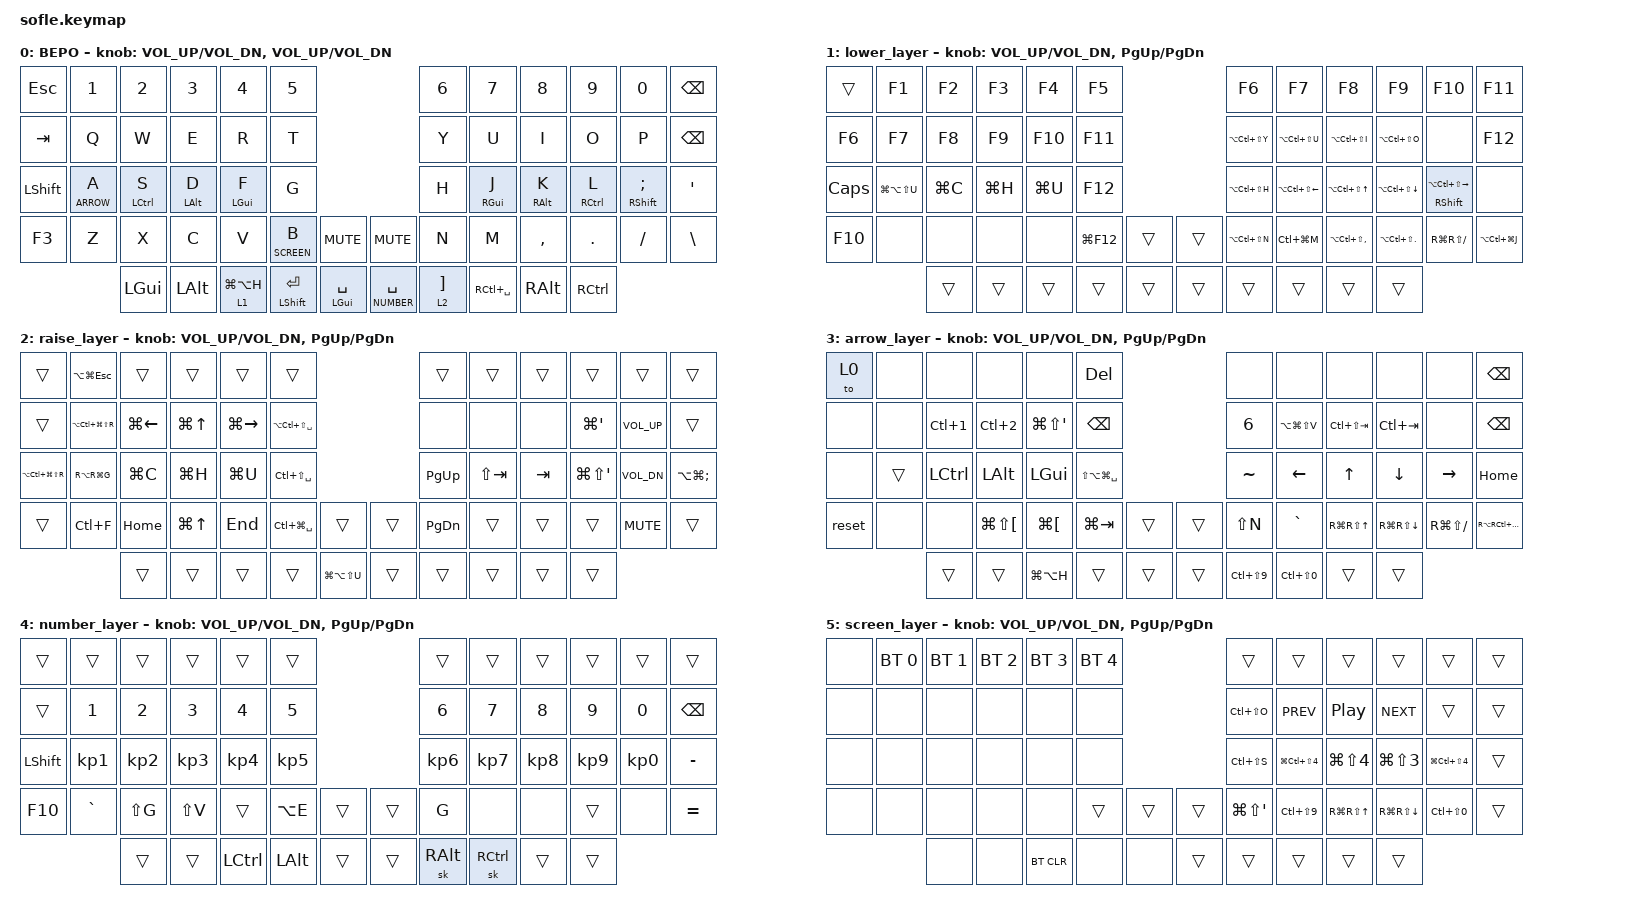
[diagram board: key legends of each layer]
/*
 * Copyright (c) 2020 The ZMK Contributors
 *
 * SPDX-License-Identifier: MIT
 */

#include <behaviors.dtsi>
#include <dt-bindings/zmk/keys.h>
#include <dt-bindings/zmk/bt.h>

#define DEFAULT 0
#define LOWER   1
#define RAISE   2
#define ARROW   3
#define NUMBER  4
#define SCREEN  5

&kscan0 { debounce-period = <20>; };

/ {
    combos {
        compatible = "zmk,combos";
        combo_ret {
            timeout-ms = <50>;
            key-positions = <30 44>;
            bindings = <&kp RET>;
        };
        combo_bspc {
            timeout-ms = <50>;
            key-positions = <19 31>;
            bindings = <&kp BSPC>;
        };
        combo_del {
            timeout-ms = <50>;
            key-positions = <18 30>;
            bindings = <&kp DEL>;
        };
        combo_w {
            timeout-ms = <50>;
            key-positions = <31 45>;
            bindings = <&kp RBKT>;
        };
        combo_z {
            timeout-ms = <50>;
            key-positions = <20 32>;
            bindings = <&kp LBKT>;
        };
        combo_arrow {
            timeout-ms = <50>;
            key-positions = <38 39 40>;
            bindings = <&to ARROW>;
        };
        combo_cut {
            timeout-ms = <50>;
            key-positions = <14 26>;
            bindings = <&kp LG(C)>;
        };
        combo_copy {
            timeout-ms = <50>;
            key-positions = <15 27>;
            bindings = <&kp LG(H)>;
        };
        combo_paste {
            timeout-ms = <50>;
            key-positions = <16 28>;
            bindings = <&kp LG(U)>;
        };
        combo_paste_without_format {
            timeout-ms = <50>;
            key-positions = <17 29>;
            bindings = <&kp LG(LA(LS(U)))>;
        };
        combo_tab {
            timeout-ms = <50>;
            key-positions = <28 29>;
            bindings = <&kp TAB>;
        };
        combo_shift-tab {
            timeout-ms = <50>;
            key-positions = <16 17>;
            bindings = <&kp LS(TAB)>;
        };
        combo_cancel {
            timeout-ms = <50>;
            key-positions = <28 40>;
            bindings = <&kp LG(LBKT)>;
        };
        combo_redo {
            timeout-ms = <50>;
            key-positions = <27 39>;
            bindings = <&kp LG(LS(LBKT))>;
        };
        combo_cmd-tab {
            timeout-ms = <50>;
            key-positions = <29 41>;
            bindings = <&kp LG(TAB)>;
        };
    };
};

// ------------------------------------------------------------------------------------------------------------
// |  0    |  1  |  2  |  3   |  4   |  5   |                   |  6   |  7    |  8    |  9   |   10  |   11  |
// |  12   | 13  |  14 | 15   | 16   |  17  |                   |  18  |  19   |  20   |  21  |   22  |   23  |
// |  24   | 25  |  26 | 27   | 28   |  29  |                   |  30  |  31   |  32   |  33  |   34  |   35  |
// |   36  | 37  |  38 | 39   | 40   |  41  |    42  |  |  43   |  44  |  45   |  46   |  47  |   48  |   49  |
//               |  50 |  51  |  52  |  53  |    54  |  |   55  |  56  |  57   |  58   |  59  |


/ {
    behaviors {
        hm1: homerow_mods {
            compatible = "zmk,behavior-hold-tap";
            label = "HOMEROW_MODS1";
            #binding-cells = <2>;
            tapping-term-ms = <260>;
            quick_tap_ms = <0>;
            flavor = "tap-preferred";
            bindings = <&kp>, <&kp>;
        };
        hm2: homerow_mods2 {
            compatible = "zmk,behavior-hold-tap";
            label = "HOMEROW_MODS2";
            #binding-cells = <2>;
            tapping-term-ms = <260>;
            quick_tap_ms = <0>;
            flavor = "hold-preferred";
            bindings = <&kp>, <&kp>;
        };
        ht: homerow_layertap {
            compatible = "zmk,behavior-hold-tap";
            label = "HOMEROW_LAYERTAP";
            #binding-cells = <2>;
            tapping-term-ms = <260>;
            quick_tap_ms = <0>;
            flavor = "tap-preferred";
            bindings = <&mo>, <&kp>;
        };
    };

    keymap {
        compatible = "zmk,keymap";

        default_layer {
        label = "BEPO";
// ------------------------------------------------------------------------------------------------------------
// |  `    |  1  |  2  |  3   |  4   |  5   |                   |  6   |  7    |  8    |  9   |   0   | BKSPC |
// |  ESC  |  Q  |  W  |  E   |  R   |  T   |                   |  Y   |  U    |  I    |  O   |   P   |   Z   |
// |  TAB  |  A  |  S  |  D   |  F   |  G   |                   |  H   |  J    |  K    |  L   |   ;   |   '   |
// | SHIFT |  Z  |  X  |  C   |  V   |  B   |  MUTE  |  |       |  N   |  M    |  ,    |  .   |   /   | SHIFT |
//               | GUI | ALT  | CTRL | LOWER|  ENTER |  | SPACE | RAISE| CTRL  | ALT   | GUI  |
            bindings = <
&kp ESC   &kp N1      &kp N2       &kp N3      &kp N4          &kp N5                                             &kp N6     &kp N7        &kp N8      &kp N9       &kp N0          &kp BSPC
&kp TAB   &kp Q       &kp W        &kp E       &kp R           &kp T                                              &kp Y      &kp U         &kp I       &kp O        &kp P           &kp BSPC
&kp LSHFT &ht ARROW A &hm1 LCTRL S &hm1 LALT D &hm1 LGUI F     &kp G                                              &kp H      &hm1 RGUI J   &hm1 RALT K &hm1 RCTRL L &hm1 RSHFT SEMI &kp SQT
&kp F3    &kp Z       &kp X        &kp C       &kp V           &lt SCREEN B   &kp C_MUTE         &kp C_MUTE       &kp N      &kp M         &kp COMMA   &kp DOT      &kp FSLH        &kp BSLH
                      &kp LGUI     &kp LALT    &lt 1 LG(LA(H)) &mt LSHFT RET  &mt LGUI SPACE     &lt NUMBER SPACE &lt 2 RBKT &kp RC(SPACE) &kp RALT    &kp RCTL
            >;

            sensor-bindings = <&inc_dec_kp C_VOL_UP C_VOL_DN &inc_dec_kp C_VOL_UP C_VOL_DN>;
        };

        lower_layer {
// TODO: Some binds are waiting for shifted keycode support.
// ------------------------------------------------------------------------------------------------------------
// |       |  F1 |  F2 |  F3  |  F4  |  F5  |                   |  F6  |  F7   |  F8   |  F9  |  F10  |  F11  |
// | `     |   1 |   2 |   3  |   4  |   5  |                   |   6  |   7   |   8   |   9  |    0  |  F12  |
// |       |  !  |  @  |  #   |  $   |  %   |                   |  ^   |  &    |  *    |  (   |   )   |   |   |
// |       |  =  |  -  |  +   |  {   |  }   |        |  |       |  [   |  ]    |  ;    |  :   |   \   |       |
//               |     |      |      |      |        |  |       |      |       |       |      |
            bindings = <
&trans   &kp F1            &kp F2    &kp F3           &kp F4       &kp F5                       &kp F6            &kp F7               &kp F8                &kp F9               &kp F10                      &kp F11
&kp F6   &kp F7            &kp F8    &kp F9           &kp F10      &kp F11                      &kp LA(LC(LS(Y))) &kp LA(LC(LS(U)))    &kp LA(LC(LS(I)))     &kp LA(LC(LS(O)))    &none                        &kp F12
&kp CAPS &kp LG(LA(LS(U))) &kp LG(C) &kp LG(H)        &kp LG(U)    &kp F12                      &kp LA(LC(LS(H))) &kp LA(LC(LS(LEFT))) &kp LA(LC(LS(UP)))    &kp LA(LC(LS(DOWN))) &hm1 RSHFT LA(LC(LS(RIGHT)))  &none
&kp F10  &none             &none     &none            &none        &kp LG(F12)  &trans   &trans &kp LA(LC(LS(N))) &kp LC(LG(M))        &kp LA(LC(LS(COMMA))) &kp LA(LC(LS(DOT)))  &kp RG(RS(FSLH))             &kp LA(LC(LG(J)))
                           &trans    &trans           &trans       &trans       &trans   &trans &trans            &trans               &trans                &trans
            >;

            sensor-bindings = <&inc_dec_kp C_VOL_UP C_VOL_DN &inc_dec_kp PG_UP PG_DN>;
        };

        raise_layer {
// ----------------------------------------------------------------------------------------------------------
// |BTCLR| BT1  | BT2  |  BT3  |  BT4  |  BT5 |                |      |      |       |      |       |       |
// |     | INS  | PSCR | GUI   |       |      |                | PGUP |      |   ^   |      |       |       |
// |     | ALT  | CTRL | SHIFT |       | CAPS |                | PGDN |   <- |   v   |  ->  |  DEL  | BKSPC |
// |     | UNDO | CUT  | COPY  | PASTE |      |      |  |      |      |      |       |      |       |       |
//              |      |       |       |      |      |  |      |      |      |       |      |
            bindings = <
&trans                &kp LA(LG(ESC))       &trans       &trans     &trans        &trans                                        &trans    &trans      &trans   &trans          &trans         &trans
&trans                &kp LA(LC(LG(LS(R)))) &kp LG(LEFT) &kp LG(UP) &kp LG(RIGHT) &kp LA(LC(LS(SPACE)))                         &none     &none       &none    &kp LG(SQT)     &kp C_VOL_UP   &trans
&kp LA(LC(LG(LS(R)))) &kp RA(RG(G))         &kp LG(C)    &kp LG(H)  &kp LG(U)     &kp LC(LS(SPACE))                             &kp PG_UP &kp LS(TAB) &kp TAB  &kp LG(LS(SQT)) &kp C_VOL_DN   &kp LA(LG(SEMI))
&trans                &kp LC(F)             &kp HOME     &kp LG(UP) &kp END       &kp LC(LG(SPACE))   &trans            &trans  &kp PG_DN &trans      &trans   &trans          &kp C_MUTE     &trans
                                            &trans       &trans     &trans        &trans              &kp LG(LA(LS(U))) &trans  &trans    &trans      &trans   &trans
            >;

            sensor-bindings = <&inc_dec_kp C_VOL_UP C_VOL_DN &inc_dec_kp PG_UP PG_DN>;
        };

        arrow_layer {
// TODO: Some binds are waiting for shifted keycode support.
// ------------------------------------------------------------------------------------------------------------
// |       |  F1 |  F2 |  F3  |  F4  |  F5  |                   |  F6  |  F7   |  F8   |  F9  |  F10  |  F11  |
// | `     |   1 |   2 |   3  |   4  |   5  |                   |   6  |   7   |   8   |   9  |    0  |  F12  |
// |       |  !  |  @  |  #   |  $   |  %   |                   |  ^   |  &    |  *    |  (   |   )   |   |   |
// |       |  =  |  -  |  +   |  {   |  }   |        |  |       |  [   |  ]    |  ;    |  :   |   \   |       |
//               |     |      |      |      |        |  |       |      |       |       |      |
            bindings = <
&to 0  &none  &none      &none            &none                 &kp DEL                                 &none          &none             &none            &none            &none            &kp BSPC
&none  &none  &kp LC(N1) &kp LC(N2)       &kp LG(LS(SQT))       &kp BSPC                                &kp N6         &kp LA(LG(LS(V))) &kp LC(LS(TAB))  &kp LC(TAB)      &none            &kp BSPC
&none  &trans &kp LCTRL  &kp LALT         &kp LGUI              &kp LS(LA(LG(SPACE)))                   &kp TILDE      &kp LEFT          &kp UP           &kp DOWN         &kp RIGHT        &kp HOME
&reset &none  &none      &kp LG(LS(LBKT)) &kp LG(LBKT)          &kp LG(TAB)           &trans     &trans &kp LS(N)      &kp GRAVE         &kp RG(RS(UP))   &kp RG(RS(DOWN)) &kp RG(LS(FSLH)) &kp RA(RC(RG(J)))
              &trans     &trans           &kp LG(LA(H))         &trans                &trans     &trans &kp LC(LS(N9)) &kp LC(LS(N0))    &trans           &trans
            >;

            sensor-bindings = <&inc_dec_kp C_VOL_UP C_VOL_DN &inc_dec_kp PG_UP PG_DN>;
        };

        number_layer {
// TODO: Some binds are waiting for shifted keycode support.
// ------------------------------------------------------------------------------------------------------------
// |       |  F1 |  F2 |  F3  |  F4  |  F5  |                   |  F6  |  F7   |  F8   |  F9  |  F10  |  F11  |
// | `     |   1 |   2 |   3  |   4  |   5  |                   |   6  |   7   |   8   |   9  |    0  |  F12  |
// |       |  !  |  @  |  #   |  $   |  %   |                   |  ^   |  &    |  *    |  (   |   )   |   |   |
// |       |  =  |  -  |  +   |  {   |  }   |        |  |       |  [   |  ]    |  ;    |  :   |   \   |       |
//               |     |      |      |      |        |  |       |      |       |       |      |
            bindings = <
&trans    &trans    &trans    &trans    &trans    &trans                    &trans    &trans    &trans    &trans    &trans    &trans
&trans    &kp N1    &kp N2    &kp N3    &kp N4    &kp N5                    &kp N6    &kp N7    &kp N8    &kp N9    &kp N0    &kp BSPC
&kp LSHFT &kp KP_N1 &kp KP_N2 &kp KP_N3 &kp KP_N4 &kp KP_N5                 &kp KP_N6 &kp KP_N7 &kp KP_N8 &kp KP_N9 &kp KP_N0 &kp MINUS
&kp F10   &kp GRAVE &kp LS(G) &kp LS(V) &trans    &kp LA(E) &trans   &trans &kp G     &none     &none     &trans    &none     &kp EQUAL
                    &trans    &trans    &kp LCTRL &kp LALT  &trans   &trans &sk RALT  &sk RCTRL &trans &trans
            >;

            sensor-bindings = <&inc_dec_kp C_VOL_UP C_VOL_DN &inc_dec_kp PG_UP PG_DN>;
        };

         screen_layer {
// TODO: Some binds are waiting for shifted keycode support.
// ------------------------------------------------------------------------------------------------------------
// |       |  F1 |  F2 |  F3  |  F4  |  F5  |                   |  F6  |  F7   |  F8   |  F9  |  F10  |  F11  |
// | `     |   1 |   2 |   3  |   4  |   5  |                   |   6  |   7   |   8   |   9  |    0  |  F12  |
// |       |  !  |  @  |  #   |  $   |  %   |                   |  ^   |  &    |  *    |  (   |   )   |   |   |
// |       |  =  |  -  |  +   |  {   |  }   |        |  |       |  [   |  ]    |  ;    |  :   |   \   |       |
//               |     |      |      |      |        |  |       |      |       |       |      |
            bindings = <
&none &bt BT_SEL 0 &bt BT_SEL 1 &bt BT_SEL 2 &bt BT_SEL 3 &bt BT_SEL 4                 &trans          &trans             &trans         &trans           &trans             &trans
&none &none        &none        &none        &none        &none                        &kp LC(LS(O))   &kp C_PREV         &kp C_PP       &kp C_NEXT       &trans             &trans
&none &none        &none        &none        &none        &none                        &kp LC(LS(S))   &kp LG(LC(LS(N4))) &kp LG(LS(N4)) &kp LG(LS(N3))   &kp LG(LC(LS(N4))) &trans
&none &none        &none        &none        &none        &trans       &trans   &trans &kp LG(LS(SQT)) &kp LC(LS(N9))     &kp RG(RS(UP)) &kp RG(RS(DOWN)) &kp LC(LS(N0))     &trans
                   &none        &none        &bt BT_CLR   &none        &none    &trans &trans          &trans             &trans         &trans
            >;

            sensor-bindings = <&inc_dec_kp C_VOL_UP C_VOL_DN &inc_dec_kp PG_UP PG_DN>;
        };
   };
};
